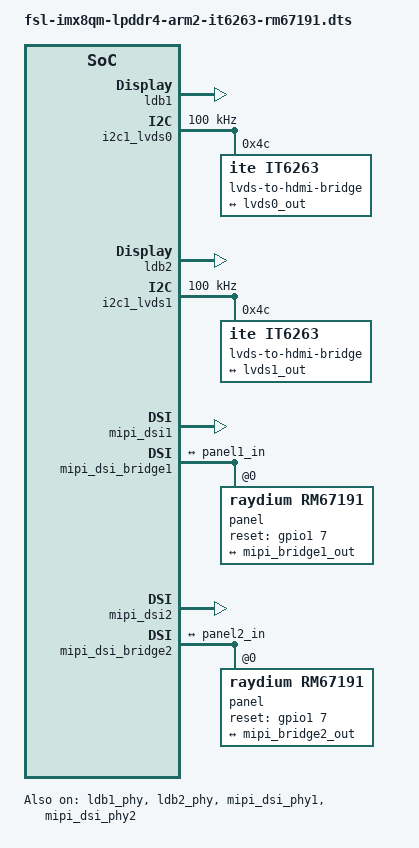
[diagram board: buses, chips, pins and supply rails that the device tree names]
/*
 * Copyright 2017 NXP
 *
 * This program is free software; you can redistribute it and/or
 * modify it under the terms of the GNU General Public License
 * as published by the Free Software Foundation; either version 2
 * of the License, or (at your option) any later version.
 *
 * This program is distributed in the hope that it will be useful,
 * but WITHOUT ANY WARRANTY; without even the implied warranty of
 * MERCHANTABILITY or FITNESS FOR A PARTICULAR PURPOSE.  See the
 * GNU General Public License for more details.
 */

#include "fsl-imx8qm-lpddr4-arm2.dts"

&hdmi {
	status = "disabled";
};

&ldb1_phy {
	status = "okay";
};

&ldb1 {
	status = "okay";

	lvds-channel@0 {
		fsl,data-mapping = "jeida";
		fsl,data-width = <24>;
		status = "okay";

		port@1 {
			reg = <1>;

			lvds0_out: endpoint {
				remote-endpoint = <&it6263_0_in>;
			};
		};
	};
};

&i2c1_lvds0 {
	#address-cells = <1>;
	#size-cells = <0>;
	pinctrl-names = "default";
	pinctrl-0 = <&pinctrl_lvds0_lpi2c1>;
	clock-frequency = <100000>;
	status = "okay";

	lvds-to-hdmi-bridge@4c {
		compatible = "ite,it6263";
		reg = <0x4c>;

		port {
			it6263_0_in: endpoint {
				clock-lanes = <3>;
				data-lanes = <0 1 2 4>;
				remote-endpoint = <&lvds0_out>;
			};
		};
	};
};

&ldb2_phy {
	status = "okay";
};

&ldb2 {
	status = "okay";

	lvds-channel@0 {
		fsl,data-mapping = "jeida";
		fsl,data-width = <24>;
		status = "okay";

		port@1 {
			reg = <1>;

			lvds1_out: endpoint {
				remote-endpoint = <&it6263_1_in>;
			};
		};
	};
};

&i2c1_lvds1 {
	#address-cells = <1>;
	#size-cells = <0>;
	pinctrl-names = "default";
	pinctrl-0 = <&pinctrl_lvds1_lpi2c1>;
	clock-frequency = <100000>;
	status = "okay";

	lvds-to-hdmi-bridge@4c {
		compatible = "ite,it6263";
		reg = <0x4c>;

		port {
			it6263_1_in: endpoint {
				clock-lanes = <3>;
				data-lanes = <0 1 2 4>;
				remote-endpoint = <&lvds1_out>;
			};
		};
	};
};

&mipi_dsi_phy1 {
	status = "okay";
};

&mipi_dsi1 {
	status = "okay";
};

&mipi_dsi_bridge1 {
	status = "okay";

	panel@0 {
		compatible = "raydium,rm67191";
		reg = <0>;
		pinctrl-0 = <&pinctrl_mipi_dsi_0_1_en>;
		reset-gpio = <&gpio1 7 GPIO_ACTIVE_HIGH>;
		dsi-lanes = <4>;
		panel-width-mm = <68>;
		panel-height-mm = <121>;
		port {
			panel1_in: endpoint {
				remote-endpoint = <&mipi_bridge1_out>;
			};
		};
	};

	port@1 {
		mipi_bridge1_out: endpoint {
			remote-endpoint = <&panel1_in>;
		};
	};
};

&mipi_dsi_phy2 {
	status = "okay";
};

&mipi_dsi2 {
	status = "okay";
};

&mipi_dsi_bridge2 {
	status = "okay";

	panel@0 {
		compatible = "raydium,rm67191";
		reg = <0>;
		pinctrl-0 = <&pinctrl_mipi_dsi_0_1_en>;
		reset-gpio = <&gpio1 7 GPIO_ACTIVE_HIGH>;
		dsi-lanes = <4>;
		panel-width-mm = <68>;
		panel-height-mm = <121>;
		port {
			panel2_in: endpoint {
				remote-endpoint = <&mipi_bridge2_out>;
			};
		};
	};

	port@1 {
		mipi_bridge2_out: endpoint {
			remote-endpoint = <&panel2_in>;
		};
	};
};
